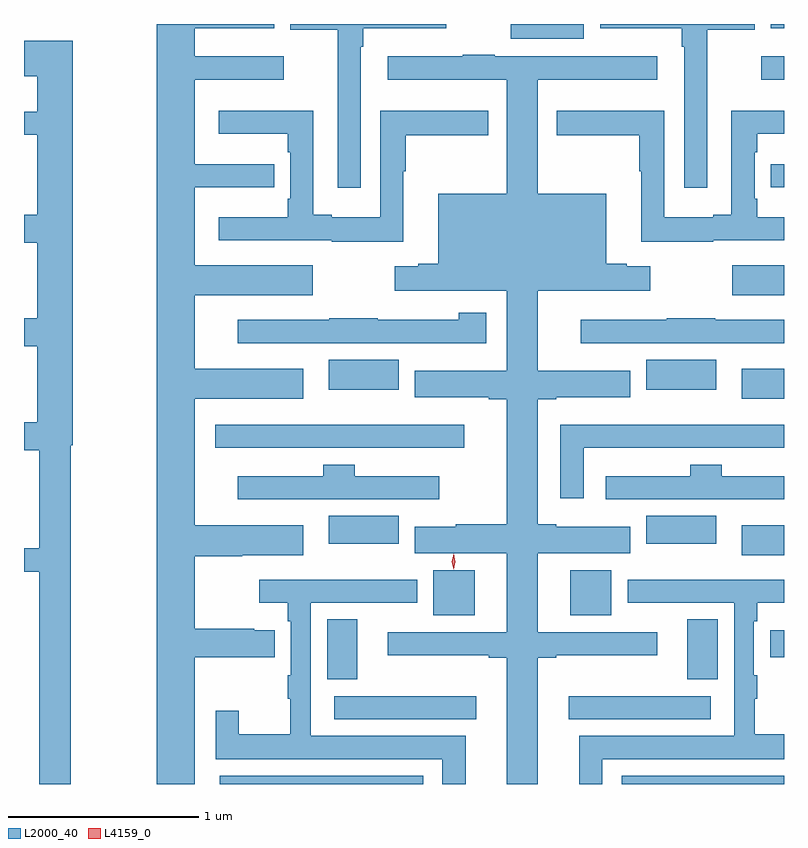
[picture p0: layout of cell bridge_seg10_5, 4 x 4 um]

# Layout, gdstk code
import gdstk
lib = gdstk.Library(unit=1e-6, precision=1e-09)
def R(c, l, rs):  # rectangles x0, y0, x1, y1
    for r in rs: c.add(gdstk.rectangle(r[:2], r[2:], *l))
def P(c, l, *ps):  # polygons
    for p in ps: c.add(gdstk.Polygon(p, *l))
L2000_40 = (2000, 40)
L4159_0 = (4159, 0)

bridge_seg10_5 = lib.new_cell('bridge_seg10_5')
R(bridge_seg10_5, L2000_40, [(1065.165,1275.252,1066.237,1275.295), (1067.28,1275.252,1068.135,1275.295), (1065.768,1275.593,1066.516,1275.715), (1067.001,1275.593,1067.749,1275.715), (1065.731,1275.804,1065.889,1276.12), (1067.627,1275.804,1067.785,1276.12), (1068.062,1275.92,1068.135,1276.06), (1066.289,1276.139,1066.507,1276.378), (1067.009,1276.139,1067.227,1276.378), (1067.913,1276.457,1068.135,1276.615), (1065.738,1276.517,1066.107,1276.663), (1067.41,1276.517,1067.779,1276.663), (1065.141,1277.021,1066.453,1277.143), (1067.913,1277.279,1068.135,1277.437), (1065.738,1277.327,1066.107,1277.485), (1067.41,1277.327,1067.779,1277.485), (1067.862,1277.825,1068.135,1277.983), (1068.065,1278.392,1068.135,1278.514), (1068.015,1278.959,1068.135,1279.081), (1066.698,1279.175,1067.082,1279.252), (1068.065,1279.229,1068.135,1279.252)])
P(bridge_seg10_5, L2000_40, [(1065.907,1279.133),(1065.92,1279.133),(1065.92,1279.229),(1066.357,1279.229),(1066.357,1279.252),(1065.536,1279.252),(1065.536,1279.222),(1065.785,1279.222),(1065.785,1278.39),(1065.907,1278.39)],
  [(1067.731,1279.222),(1067.98,1279.222),(1067.98,1279.252),(1067.167,1279.252),(1067.167,1279.229),(1067.597,1279.229),(1067.597,1279.133),(1067.609,1279.133),(1067.609,1278.39),(1067.731,1278.39)],
  [(1065.034,1275.92),(1065.454,1275.92),(1065.454,1276.06),(1065.347,1276.06),(1065.347,1276.068),(1065.034,1276.068),(1065.034,1276.45),(1065.284,1276.45),(1065.284,1276.457),(1065.604,1276.457),(1065.604,1276.615),(1065.034,1276.615),(1065.034,1277.279),(1065.604,1277.279),(1065.604,1277.437),(1065.034,1277.437),(1065.034,1277.825),(1065.655,1277.825),(1065.655,1277.983),(1065.034,1277.983),(1065.034,1278.392),(1065.451,1278.392),(1065.451,1278.514),(1065.034,1278.514),(1065.034,1278.959),(1065.502,1278.959),(1065.502,1279.081),(1065.034,1279.081),(1065.034,1279.229),(1065.451,1279.229),(1065.451,1279.252),(1064.834,1279.252),(1064.834,1275.252),(1065.034,1275.252)],
  [(1064.38,1277.034),(1064.392,1277.034),(1064.392,1279.165),(1064.135,1279.165),(1064.135,1278.977),(1064.204,1278.977),(1064.204,1278.79),(1064.135,1278.79),(1064.135,1278.668),(1064.204,1278.668),(1064.204,1278.247),(1064.135,1278.247),(1064.135,1278.1),(1064.204,1278.1),(1064.204,1277.703),(1064.135,1277.703),(1064.135,1277.555),(1064.204,1277.555),(1064.204,1277.157),(1064.135,1277.157),(1064.135,1277.009),(1064.216,1277.009),(1064.216,1276.492),(1064.135,1276.492),(1064.135,1276.37),(1064.216,1276.37),(1064.216,1275.252),(1064.38,1275.252)],
  [(1066.84,1275.917),(1066.936,1275.917),(1066.936,1275.929),(1067.467,1275.929),(1067.467,1276.051),(1066.84,1276.051),(1066.84,1276.466),(1067.325,1276.466),(1067.325,1276.606),(1066.936,1276.606),(1066.936,1276.619),(1066.84,1276.619),(1066.84,1277.276),(1066.936,1277.276),(1066.936,1277.288),(1067.325,1277.288),(1067.325,1277.428),(1066.84,1277.428),(1066.84,1277.849),(1067.431,1277.849),(1067.431,1277.977),(1067.307,1277.977),(1067.307,1277.99),(1067.2,1277.99),(1067.2,1278.358),(1066.84,1278.358),(1066.84,1278.959),(1067.467,1278.959),(1067.467,1279.081),(1066.613,1279.081),(1066.613,1279.089),(1066.444,1279.089),(1066.444,1279.081),(1066.05,1279.081),(1066.05,1278.959),(1066.676,1278.959),(1066.676,1278.358),(1066.316,1278.358),(1066.316,1277.99),(1066.209,1277.99),(1066.209,1277.977),(1066.086,1277.977),(1066.086,1277.849),(1066.676,1277.849),(1066.676,1277.428),(1066.192,1277.428),(1066.192,1277.288),(1066.58,1277.288),(1066.58,1277.276),(1066.676,1277.276),(1066.676,1276.619),(1066.408,1276.619),(1066.408,1276.606),(1066.192,1276.606),(1066.192,1276.466),(1066.676,1276.466),(1066.676,1276.051),(1066.05,1276.051),(1066.05,1275.929),(1066.58,1275.929),(1066.58,1275.917),(1066.676,1275.917),(1066.676,1275.252),(1066.84,1275.252)],
  [(1067.762,1278.113),(1068.135,1278.113),(1068.135,1278.235),(1067.993,1278.235),(1067.993,1278.331),(1067.98,1278.331),(1067.98,1278.578),(1067.993,1278.578),(1067.993,1278.674),(1068.135,1278.674),(1068.135,1278.796),(1067.858,1278.796),(1067.858,1278.248),(1067.762,1278.248),(1067.762,1278.235),(1067.506,1278.235),(1067.506,1278.796),(1066.938,1278.796),(1066.938,1278.667),(1067.372,1278.667),(1067.372,1278.478),(1067.384,1278.478),(1067.384,1278.106),(1067.762,1278.106)],
  [(1066.132,1278.478),(1066.145,1278.478),(1066.145,1278.667),(1066.579,1278.667),(1066.579,1278.796),(1066.01,1278.796),(1066.01,1278.235),(1065.754,1278.235),(1065.754,1278.248),(1065.658,1278.248),(1065.658,1278.796),(1065.159,1278.796),(1065.159,1278.674),(1065.524,1278.674),(1065.524,1278.578),(1065.536,1278.578),(1065.536,1278.331),(1065.524,1278.331),(1065.524,1278.235),(1065.159,1278.235),(1065.159,1278.113),(1065.754,1278.113),(1065.754,1278.106),(1066.132,1278.106)],
  [(1066.567,1277.731),(1066.424,1277.731),(1066.424,1277.695),(1065.998,1277.695),(1065.998,1277.703),(1065.742,1277.703),(1065.742,1277.695),(1065.261,1277.695),(1065.261,1277.573),(1066.567,1277.573)],
  [(1068.135,1277.695),(1067.774,1277.695),(1067.774,1277.703),(1067.518,1277.703),(1067.518,1277.695),(1067.064,1277.695),(1067.064,1277.573),(1068.135,1277.573)],
  [(1067.08,1277.021),(1068.135,1277.021),(1068.135,1277.143),(1066.958,1277.143),(1066.958,1276.755),(1067.08,1276.755)],
  [(1068.135,1276.873),(1067.807,1276.873),(1067.807,1276.933),(1067.642,1276.933),(1067.642,1276.873),(1067.196,1276.873),(1067.196,1276.751),(1068.135,1276.751)],
  [(1066.321,1276.873),(1065.875,1276.873),(1065.875,1276.933),(1065.71,1276.933),(1065.71,1276.873),(1065.261,1276.873),(1065.261,1276.751),(1066.321,1276.751)],
  [(1067.179,1275.383),(1068.135,1275.383),(1068.135,1275.513),(1067.98,1275.513),(1067.98,1275.701),(1067.995,1275.701),(1067.995,1275.824),(1067.977,1275.824),(1067.977,1276.109),(1067.995,1276.109),(1067.995,1276.205),(1068.135,1276.205),(1068.135,1276.327),(1067.312,1276.327),(1067.312,1276.205),(1067.873,1276.205),(1067.873,1275.505),(1067.057,1275.505),(1067.057,1275.252),(1067.179,1275.252)],
  [(1066.459,1275.505),(1065.643,1275.505),(1065.643,1276.205),(1066.204,1276.205),(1066.204,1276.327),(1065.372,1276.327),(1065.372,1276.205),(1065.522,1276.205),(1065.522,1276.109),(1065.539,1276.109),(1065.539,1275.824),(1065.522,1275.824),(1065.522,1275.701),(1065.537,1275.701),(1065.537,1275.513),(1065.265,1275.513),(1065.265,1275.637),(1065.143,1275.637),(1065.143,1275.383),(1066.337,1275.383),(1066.337,1275.252),(1066.459,1275.252)])
P(bridge_seg10_5, L4159_0, [(1066.396,1276.381),(1066.396,1276.381),(1066.386,1276.422),(1066.396,1276.463),(1066.396,1276.464),(1066.396,1276.463),(1066.406,1276.422),(1066.396,1276.381)])

lib.write_gds('bridge_seg10_5.gds')
